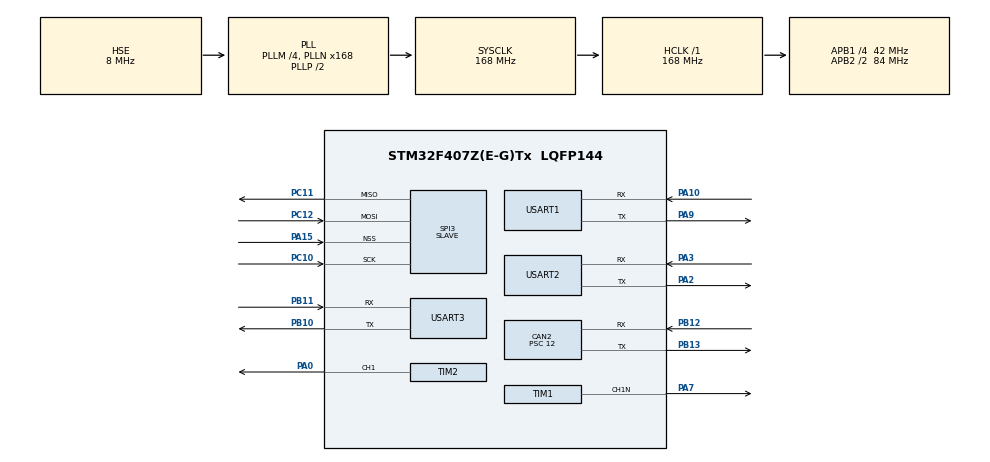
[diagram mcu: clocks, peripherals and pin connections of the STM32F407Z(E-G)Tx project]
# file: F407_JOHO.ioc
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CAN2.BS1=CAN_BS1_9TQ
CAN2.BS2=CAN_BS2_5TQ
CAN2.CalculateBaudRate=233333
CAN2.CalculateTimeBit=4285
CAN2.CalculateTimeQuantum=285.7142857142857
CAN2.Prescaler=12
Mcu.Family=STM32F4
Mcu.Name=STM32F407Z(E-G)Tx
Mcu.Package=LQFP144
NVIC.PriorityGroup=NVIC_PRIORITYGROUP_4
NVIC.SPI3_IRQn=true\:6\:0\:true\:false\:true\:true\:true\:true
PA0-WKUP.Signal=S_TIM2_CH1_ETR
PA10.Mode=Asynchronous
PA10.Signal=USART1_RX
PA13.Mode=Serial_Wire
PA13.Signal=SYS_JTMS-SWDIO
PA14.Mode=Serial_Wire
PA14.Signal=SYS_JTCK-SWCLK
PA15.Mode=NSS_Signal_Hard_Input
PA15.Signal=SPI3_NSS
PA2.Mode=Asynchronous
PA2.Signal=USART2_TX
PA3.Mode=Asynchronous
PA3.Signal=USART2_RX
PA7.Mode=PWM Generation1 CH1N
PA7.Signal=TIM1_CH1N
PA9.Mode=Asynchronous
PA9.Signal=USART1_TX
PB10.Mode=Asynchronous
PB10.Signal=USART3_TX
PB11.Mode=Asynchronous
PB11.Signal=USART3_RX
PB12.Mode=CAN_Activate
PB12.Signal=CAN2_RX
PB13.Mode=CAN_Activate
PB13.Signal=CAN2_TX
PC10.Mode=Full_Duplex_Slave
PC10.Signal=SPI3_SCK
PC11.Mode=Full_Duplex_Slave
PC11.Signal=SPI3_MISO
PC12.Mode=Full_Duplex_Slave
PC12.Signal=SPI3_MOSI
PC14-OSC32_IN.Mode=LSE-External-Oscillator
PC14-OSC32_IN.Signal=RCC_OSC32_IN
PC15-OSC32_OUT.Mode=LSE-External-Oscillator
PC15-OSC32_OUT.Signal=RCC_OSC32_OUT
PH0-OSC_IN.Mode=HSE-External-Oscillator
PH0-OSC_IN.Signal=RCC_OSC_IN
PH1-OSC_OUT.Mode=HSE-External-Oscillator
PH1-OSC_OUT.Signal=RCC_OSC_OUT
ProjectManager.HeapSize=0x200
ProjectManager.StackSize=0x400
ProjectManager.TargetToolchain=Makefile
RCC.48MHZClocksFreq_Value=84000000
RCC.AHBFreq_Value=168000000
RCC.APB1CLKDivider=RCC_HCLK_DIV4
RCC.APB1Freq_Value=42000000
RCC.APB1TimFreq_Value=84000000
RCC.APB2CLKDivider=RCC_HCLK_DIV2
RCC.APB2Freq_Value=84000000
RCC.APB2TimFreq_Value=168000000
RCC.CortexFreq_Value=168000000
RCC.HCLKFreq_Value=168000000
RCC.HSE_VALUE=8000000
RCC.HSI_VALUE=16000000
RCC.PLLM=4
RCC.PLLN=168
RCC.PLLSourceVirtual=RCC_PLLSOURCE_HSE
RCC.SYSCLKFreq_VALUE=168000000
RCC.SYSCLKSource=RCC_SYSCLKSOURCE_PLLCLK
RCC.VCOOutputFreq_Value=336000000
SH.S_TIM2_CH1_ETR.0=TIM2_CH1,Output Compare1 CH1
SPI3.Direction=SPI_DIRECTION_2LINES
SPI3.Mode=SPI_MODE_SLAVE
SPI3.VirtualNSS=VM_NSSHARD
SPI3.VirtualType=VM_SLAVE
TIM1.Channel-PWM\ Generation1\ CH1N=TIM_CHANNEL_1
TIM2.Channel-Output\ Compare1\ CH1=TIM_CHANNEL_1
USART1.VirtualMode=VM_ASYNC
USART2.VirtualMode=VM_ASYNC
USART3.VirtualMode=VM_ASYNC
board=custom

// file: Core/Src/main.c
/* USER CODE BEGIN Header */
/**
 ******************************************************************************
 * @file           : main.c
 * @brief          : Main program body
 ******************************************************************************
 * @attention
 *
 * Copyright (c) 2026 STMicroelectronics.
 * All rights reserved.
 *
 * This software is licensed under terms that can be found in the LICENSE file
 * in the root directory of this software component.
 * If no LICENSE file comes with this software, it is provided AS-IS.
 *
 ******************************************************************************
 */
/* USER CODE END Header */
#include "main.h"
#include "can.h"
#include "spi.h"
#include "tim.h"
#include "usart.h"
#include "gpio.h"

/* USER CODE BEGIN Includes */
#include "usart.h"
#include "ring_buffer.h"
#include "uart_servo_lite.h"
#include "test_servo.h"
#include "math.h"
#include "step.h"
#include "gait.h"
#include "spi_slave_link.h"
/* USER CODE END Includes */

/* USER CODE BEGIN PD */

/* ====== 蛇形机器人配置 ====== */
#define SERVO_ID_SETUP_MODE  0 // 1=按下方宏自动配置单舵机ID, 0=运行蛇形步态
#define TARGET_SERVO_ID      8
// 每次只连接一个舵机，在这里填写要写入的ID
#define SNAKE_JOINT_COUNT  4    // 当前只连接8只舵机，共4个正交双轴关节
#define GAIT_BASE_ID       1
#define SERPENTINE_AMPLITUDE_DEG        45.0f // 水平蜿蜒振幅，便于观察
#define SERPENTINE_PERIOD_S              2.0f // 一个完整摆动周期
#define SERPENTINE_JOINT_PHASE_DEG \
        (360.0f / SNAKE_JOINT_COUNT) // 4关节时相邻关节相差90°
#define STATUS_POLL_INTERVAL_MS        250U   // 每次只读一个舵机，降低对步态的影响
#define SERVO_CENTER_HOLD_MS          5000U   // 启动时所有舵机回中并保持5秒
#define SERVO_CENTER_RAW              2048U   // 舵机原始中位值
#define SERVO_CENTER_TOLERANCE_RAW      57U   // 约5°，超过则报告零位异常

#if (TARGET_SERVO_ID < 1) || (TARGET_SERVO_ID > 250)
#error "TARGET_SERVO_ID must be in range 1..250"
#endif

/* USER CODE END PD */

/* USER CODE BEGIN PV */
extern volatile uint32_t usart3_rx_count;  // USART3接收字节计数(调试用)

/* USER CODE END PV */

void SystemClock_Config(void);
/* USER CODE BEGIN PFP */
// 使用TARGET_SERVO_ID自动配置单舵机ID并Ping验证
#if SERVO_ID_SETUP_MODE
static void RunServoIdSetup(void);
#endif
/* USER CODE END PFP */

/* USER CODE BEGIN 0 */
/* USART1 直接寄存器方式发送一个字节（绕过HAL，纯硬件测试） */
// static void USART1_SendByte(uint8_t byte)
// {
//     /* 等待TXE（发送数据寄存器空） */
//     while (!(USART1->SR & USART_SR_TXE)) {}
//     /* 写入数据寄存器 */
//     USART1->DR = byte;
// }

// ========== 角度换算：以中心(2048)为0°, 向左为负, 向右为正 ==========

// 舵机原始值(0-4095) → 相对中心的角度(°) 范围 -180°~+180°
static float RawToRelativeDegree(uint16_t raw)
{
    if (raw > 4095) return -999.0f;
    return raw * 360.0f / 4095.0f - 180.0f;
}

// 相对角度(°) → 舵机原始值(0-4095)
static uint16_t __attribute__((unused)) RelativeDegreeToRaw(float relDeg)
{
    float absDeg = relDeg + 180.0f;  // 转为 0~360°
    if (absDeg < 0.0f) absDeg = 0.0f;
    if (absDeg > 360.0f) absDeg = 360.0f;
    return (uint16_t)(absDeg * 4095.0f / 360.0f);
}

// 清空舵机接收缓冲区
static void __attribute__((unused)) ClearServoRxBuf(void)
{
    RingBuffer_Reset(servoUsart->recvBuf);
}

// // 调试: 打印USART3硬件寄存器状态和缓冲区内容
// static void USART3_DumpStatus(void)
// {
//     uint32_t sr = USART3->SR;
//     uint32_t cr1 = USART3->CR1;

//     printf("\r\n=== USART3 DEBUG ===\r\n");
//     printf("SR=0x%08lX", sr);
//     if (sr & USART_SR_PE)   printf(" PE");
//     if (sr & USART_SR_FE)   printf(" FE");
//     if (sr & USART_SR_NE)   printf(" NE");
//     if (sr & USART_SR_ORE)  printf(" ORE");
//     if (sr & USART_SR_IDLE) printf(" IDLE");
//     if (sr & USART_SR_RXNE) printf(" RXNE");
//     if (sr & USART_SR_TC)   printf(" TC");
//     if (sr & USART_SR_TXE)  printf(" TXE");
//     printf("\r\n");

//     printf("CR1=0x%08lX", cr1);
//     if (cr1 & USART_CR1_RE)     printf(" RE");
//     if (cr1 & USART_CR1_TE)     printf(" TE");
//     if (cr1 & USART_CR1_RXNEIE) printf(" RXNEIE");
//     if (cr1 & USART_CR1_PEIE)   printf(" PEIE");
//     printf("\r\n");

//     /* RXNE置位时，直接读DR看是否有数据卡住 */
//     if (sr & USART_SR_RXNE) {
//         uint8_t stuck_byte = (uint8_t)(USART3->DR & 0xFF);
//         printf("DR has stuck byte: 0x%02X\r\n", stuck_byte);
//         /* 注意: 读DR会清除RXNE */
//     }

//     /* 查看环形缓冲区状态 */
//     uint16_t used = RingBuffer_GetByteUsed(servoUsart->recvBuf);
//     uint16_t free = RingBuffer_GetByteFree(servoUsart->recvBuf);
//     printf("RingBuf: used=%u free=%u rx_count=%lu\r\n",
//            used, free, usart3_rx_count);

//     /* 打印缓冲区内容 */
//     if (used > 0) {
//         printf("RingBuf data:");
//         for (uint16_t i = 0; i < used && i < 64; i++) {
//             printf(" %02X", RingBuffer_GetValueByIndex(servoUsart->recvBuf, i));
//         }
//         printf("\r\n");
//     }
//     printf("==================\r\n");
// }

// 读取单个寄存器(通用), 返回读取到的值, 失败返回0xFFFF
static uint16_t __attribute__((unused)) ReadReg(uint8_t addr, uint8_t len)
{
    uint8_t content[2];

    content[0] = addr;
    content[1] = len;
    JOHO_PackageBuild_Send(servoUsart, 1, 4, CMDType_Read, content);

    SysTick_DelayMs(5);
    PackageTypeDef pkg;
    if (USL_RecvPackage(servoUsart, &pkg) == JOHO_STATUS_SUCCESS) {
        if (len == 1) return pkg.content[0];
        // 大端模式: content[0]=高字节, content[1]=低字节
        return (pkg.content[0] << 8) | pkg.content[1];
    }
    return 0xFFFF;
}

/* USER CODE END 0 */

int main(void)
{

  /* MCU Configuration--------------------------------------------------------*/

  /* Reset of all peripherals, Initializes the Flash interface and the Systick. */
  HAL_Init();

  /* USER CODE BEGIN Init */
  /* === LED 初始化（正点原子F407: DS0=PF9, 低电平亮）=== */
  __HAL_RCC_GPIOF_CLK_ENABLE();
  GPIO_InitTypeDef led = {0};
  led.Pin = GPIO_PIN_9;
  led.Mode = GPIO_MODE_OUTPUT_PP;
  led.Pull = GPIO_NOPULL;
  led.Speed = GPIO_SPEED_FREQ_LOW;
  HAL_GPIO_Init(GPIOF, &led);

  /* USER CODE END Init */

  /* Configure the system clock */
  SystemClock_Config();

  /* Initialize all configured peripherals */
  MX_GPIO_Init();
  MX_CAN2_Init();
  MX_SPI3_Init();
  MX_TIM1_Init();
  MX_TIM2_Init();
  MX_USART1_UART_Init();
  MX_USART2_UART_Init();
  MX_USART3_UART_Init();
  /* USER CODE BEGIN 2 */
  SPI_SlaveLink_Start();

  /* USER CODE END 2 */

  /* Infinite loop */
  /* USER CODE BEGIN WHILE */
  while (1)
  {
    SPI_SlaveLink_Process();
    /* USER CODE END WHILE */
  }
}

void SystemClock_Config(void)
{
  RCC_OscInitTypeDef RCC_OscInitStruct = {0};
  RCC_ClkInitTypeDef RCC_ClkInitStruct = {0};

  /** Configure the main internal regulator output voltage
  */
  __HAL_RCC_PWR_CLK_ENABLE();
  __HAL_PWR_VOLTAGESCALING_CONFIG(PWR_REGULATOR_VOLTAGE_SCALE1);

  /** Initializes the RCC Oscillators according to the specified parameters
  * in the RCC_OscInitTypeDef structure.
  */
  RCC_OscInitStruct.OscillatorType = RCC_OSCILLATORTYPE_HSE;
  RCC_OscInitStruct.HSEState = RCC_HSE_ON;
  RCC_OscInitStruct.PLL.PLLState = RCC_PLL_ON;
  RCC_OscInitStruct.PLL.PLLSource = RCC_PLLSOURCE_HSE;
  RCC_OscInitStruct.PLL.PLLM = 4;
  RCC_OscInitStruct.PLL.PLLN = 168;
  RCC_OscInitStruct.PLL.PLLP = RCC_PLLP_DIV2;
  RCC_OscInitStruct.PLL.PLLQ = 4;
  if (HAL_RCC_OscConfig(&RCC_OscInitStruct) != HAL_OK)
  {
    Error_Handler();
  }

  /** Initializes the CPU, AHB and APB buses clocks
  */
  RCC_ClkInitStruct.ClockType = RCC_CLOCKTYPE_HCLK|RCC_CLOCKTYPE_SYSCLK
                              |RCC_CLOCKTYPE_PCLK1|RCC_CLOCKTYPE_PCLK2;
  RCC_ClkInitStruct.SYSCLKSource = RCC_SYSCLKSOURCE_PLLCLK;
  RCC_ClkInitStruct.AHBCLKDivider = RCC_SYSCLK_DIV1;
  RCC_ClkInitStruct.APB1CLKDivider = RCC_HCLK_DIV4;
  RCC_ClkInitStruct.APB2CLKDivider = RCC_HCLK_DIV2;

  if (HAL_RCC_ClockConfig(&RCC_ClkInitStruct, FLASH_LATENCY_5) != HAL_OK)
  {
    Error_Handler();
  }
}

/* USER CODE BEGIN 4 */

/**
 * @brief  使用TARGET_SERVO_ID配置单个舵机ID，并Ping新ID验证。
 *
 * 使用时舵机总线上只能连接一只舵机。每次修改TARGET_SERVO_ID并
 * 重新编译烧录；程序启动后自动写ID，然后Ping三次。
 */
#if SERVO_ID_SETUP_MODE
static void RunServoIdSetup(void)
{
    printf("\r\n\r\n");
    printf("============================================\r\n");
    printf("  AUTO SERVO ID SETUP + PING VERIFY\r\n");
    printf("============================================\r\n");
    printf("  Target ID: %u\r\n", TARGET_SERVO_ID);
    printf("  WARNING  : Connect ONLY ONE servo!\r\n");
    printf("============================================\r\n");

    uint8_t write_content[2] = {0x05, TARGET_SERVO_ID};

    printf("[1/3] Broadcast write: servo ID -> %u\r\n", TARGET_SERVO_ID);
    RingBuffer_Reset(servoUsart->recvBuf);
    JOHO_PackageBuild_Send(servoUsart, JOHO_BROADCAST_ID, 4,
                           CMDType_Write, write_content);

    printf("[2/3] Waiting for EEPROM save ...\r\n");
    SysTick_DelayMs(1000);

    JOHO_STATUS ping_status = JOHO_STATUS_FAIL;
    for (uint8_t attempt = 1; attempt <= 3; attempt++)
    {
        printf("[3/3] Ping ID=%u, attempt %u/3 ... ",
               TARGET_SERVO_ID, attempt);
        ping_status = US_Ping(servoUsart, TARGET_SERVO_ID);
        if (ping_status == JOHO_STATUS_SUCCESS)
        {
            printf("OK\r\n");
            break;
        }

        printf("FAILED (status=%u)\r\n", ping_status);
        SysTick_DelayMs(100);
    }

    if (ping_status == JOHO_STATUS_SUCCESS)
    {
        printf("\r\n[SUCCESS] Servo ID is %u and Ping is valid.\r\n",
               TARGET_SERVO_ID);
    }
    else
    {
        printf("\r\n[FAILED] ID=%u did not answer Ping.\r\n",
               TARGET_SERVO_ID);
        printf("Check single-servo wiring and power, then reset the board.\r\n");
    }

    printf("Change TARGET_SERVO_ID and re-flash for the next servo.\r\n");
    printf("Power off before replacing the servo.\r\n");

    /* 配置只执行一次，避免循环擦写舵机EEPROM。 */
    while (1)
    {
        SysTick_DelayMs(1000);
    }
}
#endif

/* USER CODE END 4 */

void Error_Handler(void)
{
  __disable_irq();
  while (1)
  {
  }
}
